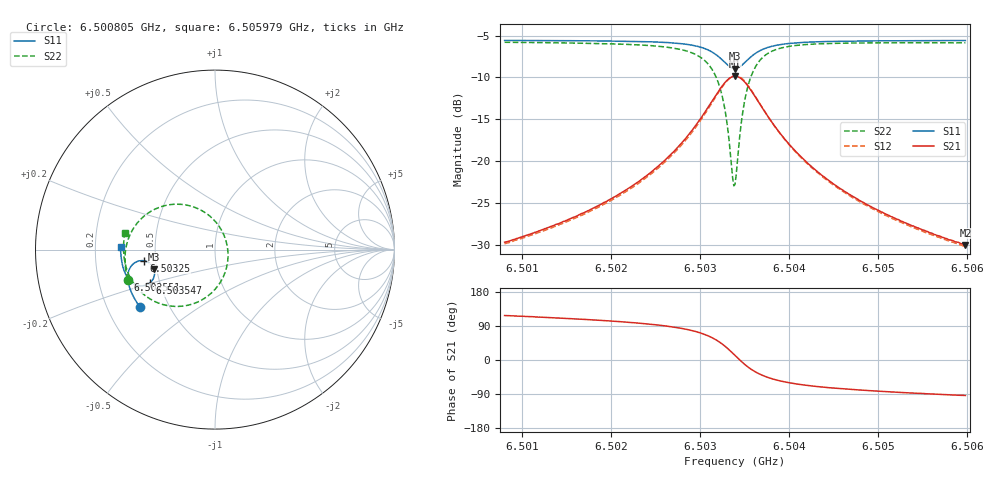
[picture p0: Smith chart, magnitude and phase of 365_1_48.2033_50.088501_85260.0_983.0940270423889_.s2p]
#  HZ  S  RI  R  50.00
! Rohde & Schwarz Vector Network Analyzer
! Rohde-Schwarz,ZNB20-2Port,1311601062101988,3.16
! Created: UTC 3/20/2024, 11:52:21 AM
! freq[Hz]  re:S11  im:S11  re:S21  im:S21  re:S12  im:S12  re:S22  im:S22
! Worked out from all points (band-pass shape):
!   401 points, 6.500805 GHz to 6.505979 GHz, reference 50 ohm
!   highest |S21| = -9.85 dB at 6.503392 GHz (marker M1); lowest = -30.0 dB at 6.505979 GHz (marker M2)
!   |S21| within 3 dB of the highest: 6.503134 GHz to 6.503651 GHz (517.4 kHz wide, 0.00796 % of centre)
!   lowest |S11| = -8.9 dB at 6.503392 GHz (marker M3), VSWR 2.11, Z = 24.1 - j6.09 ohm
!   |S11| at or under -10 dB: nowhere
!   |S22| runs from -23.0 to -5.8 dB; largest |S21 - S12| = 0.011
!   S11 on the Smith chart (normalised r, x): 6.500805 GHz: 0.34, -0.30; 6.502551 GHz: 0.33, -0.15; 6.50325 GHz: 0.43, -0.06; 6.503547 GHz: 0.44, -0.20; 6.505979 GHz: 0.31, +0.01
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6.5008051e9  -0.4196 -0.3179  -0.015 0.0291  -0.0133 0.029  -0.4854 -0.1672
6.5016718e9  -0.4578 -0.2552  -0.0146 0.0463  -0.0122 0.0458  -0.501 -0.0774
6.5021634e9  -0.4756 -0.2124  -0.0116 0.0659  -0.00872 0.0649  -0.4991 -0.00938
6.5025385e9  -0.485 -0.1718  -0.00331 0.094  0.000273 0.0917  -0.4814 0.0634
6.5025514e9  -0.4852 -0.1702  -0.00262 0.0954  0.000785 0.0929  -0.4802 0.0667
6.502836e9  -0.4836 -0.1284  0.0202 0.1347  0.024 0.1308  -0.4325 0.1489
6.5030301e9  -0.4667 -0.0912  0.0662 0.1753  0.069 0.1696  -0.3435 0.2209
6.5031594e9  -0.4353 -0.067  0.1345 0.198  0.1356 0.1916  -0.2196 0.2531
6.50325e9  -0.3975 -0.0619  0.2096 0.1884  0.2099 0.183  -0.0892 0.2254
6.5033017e9  -0.3725 -0.0702  0.2573 0.1611  0.258 0.1565  -0.0102 0.1693
6.5033664e9  -0.3462 -0.0959  0.3045 0.0989  0.3068 0.094  0.0609 0.05
6.5033923e9  -0.3399 -0.11  0.3146 0.0675  0.3176 0.0616  0.072 -0.00859
6.5034052e9  -0.338 -0.1176  0.3174 0.0511  0.3205 0.0448  0.0728 -0.0386
6.5034828e9  -0.3437 -0.1616  0.3012 -0.0417  0.303 -0.0515  0.017 -0.2009
6.5035475e9  -0.3643 -0.187  0.2594 -0.0951  0.2584 -0.106  -0.077 -0.2824
6.503651e9  -0.403 -0.2018  0.1865 -0.131  0.1814 -0.1401  -0.2235 -0.3165
6.5038191e9  -0.4483 -0.1922  0.1065 -0.1285  0.0998 -0.1333  -0.3677 -0.2713
6.5040002e9  -0.4755 -0.1709  0.0629 -0.1091  0.0569 -0.1113  -0.4386 -0.2079
6.5042589e9  -0.4961 -0.1409  0.0335 -0.0855  0.0288 -0.086  -0.4814 -0.1367
6.504647e9  -0.5115 -0.101  0.0147 -0.063  0.0115 -0.0626  -0.5035 -0.0625
6.5051256e9  -0.521 -0.0572  0.00494 -0.0468  0.00276 -0.046  -0.5097 0.0033
6.5059794e9  -0.5257 0.0145  -0.00198 -0.0314  -0.00334 -0.0308  -0.5014 0.0918
